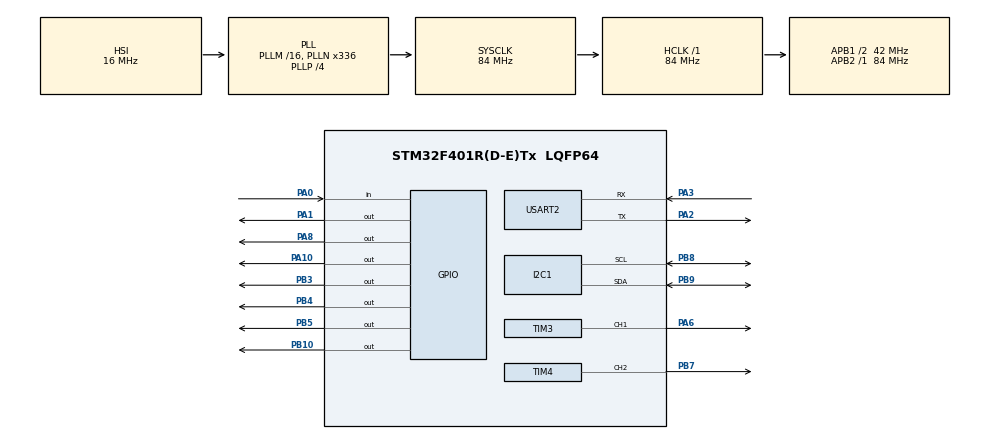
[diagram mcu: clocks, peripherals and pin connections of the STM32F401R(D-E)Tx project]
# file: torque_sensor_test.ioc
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FREERTOS.Tasks01=defaultTask,24,128,StartDefaultTask,Default,NULL,Dynamic,NULL,NULL
Mcu.Family=STM32F4
Mcu.Name=STM32F401R(D-E)Tx
Mcu.Package=LQFP64
NVIC.PriorityGroup=NVIC_PRIORITYGROUP_4
PA0-WKUP.Signal=GPIO_Input
PA1.Signal=GPIO_Output
PA10.Signal=GPIO_Output
PA2.Mode=Asynchronous
PA2.Signal=USART2_TX
PA3.Mode=Asynchronous
PA3.Signal=USART2_RX
PA6.Signal=S_TIM3_CH1
PA8.Signal=GPIO_Output
PB10.Signal=GPIO_Output
PB3.Signal=GPIO_Output
PB4.Signal=GPIO_Output
PB5.Signal=GPIO_Output
PB7.Signal=S_TIM4_CH2
PB8.Mode=I2C
PB8.Signal=I2C1_SCL
PB9.Mode=I2C
PB9.Signal=I2C1_SDA
PH0\ -\ OSC_IN.Signal=RCC_OSC_IN
PH1\ -\ OSC_OUT.Signal=RCC_OSC_OUT
ProjectManager.HeapSize=0x200
ProjectManager.StackSize=0x400
ProjectManager.TargetToolchain=STM32CubeIDE
RCC.48MHZClocksFreq_Value=84000000
RCC.AHBFreq_Value=84000000
RCC.APB1CLKDivider=RCC_HCLK_DIV2
RCC.APB1Freq_Value=42000000
RCC.APB1TimFreq_Value=84000000
RCC.APB2Freq_Value=84000000
RCC.APB2TimFreq_Value=84000000
RCC.CortexFreq_Value=84000000
RCC.HCLKFreq_Value=84000000
RCC.HSE_VALUE=25000000
RCC.HSI_VALUE=16000000
RCC.LSE_VALUE=32768
RCC.PLLN=336
RCC.PLLP=RCC_PLLP_DIV4
RCC.SYSCLKFreq_VALUE=84000000
RCC.SYSCLKSource=RCC_SYSCLKSOURCE_PLLCLK
RCC.VCOOutputFreq_Value=336000000
SH.S_TIM3_CH1.0=TIM3_CH1,PWM Generation1 CH1
SH.S_TIM4_CH2.0=TIM4_CH2,PWM Generation2 CH2
TIM3.Channel-PWM\ Generation1\ CH1=TIM_CHANNEL_1
TIM3.Period=255
TIM3.Prescaler=83
TIM4.Channel-PWM\ Generation2\ CH2=TIM_CHANNEL_2
TIM4.Prescaler=83
USART2.VirtualMode=VM_ASYNC
VP_FREERTOS_VS_CMSIS_V2.Mode=CMSIS_V2
VP_TIM3_VS_ClockSourceINT.Mode=Internal
VP_TIM4_VS_ClockSourceINT.Mode=Internal
board=custom

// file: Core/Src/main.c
/* USER CODE BEGIN Header */
/**
  ******************************************************************************
  * @file           : main.c
  * @brief          : Torque + Current Measurement (HX711 + INA219 + Servo)
  ******************************************************************************
  */

#include <stdio.h>
#include <string.h>
#include <math.h>
/* USER CODE END Header */
#include "main.h"
#include "cmsis_os.h"

I2C_HandleTypeDef hi2c1;

TIM_HandleTypeDef htim3;
TIM_HandleTypeDef htim4;

UART_HandleTypeDef huart2;

/* USER CODE BEGIN PV */
osThreadId_t sensorTaskHandle;
const osThreadAttr_t sensorTask_attributes = {
    .name       = "sensorTask",
    .stack_size = 512 * 4,                          // 2 KB — needs snprintf + floats
    .priority   = (osPriority_t) osPriorityNormal,
};
/* Servo task — sweeps servo continuously */
osThreadId_t servoTaskHandle;
const osThreadAttr_t servoTask_attributes = {
    .name       = "servoTask",                      // MUST differ from sensorTask name
    .stack_size = 128 * 4,                          // 512 B — only GPIO writes, very small
    .priority   = (osPriority_t) osPriorityBelowNormal,
};
osThreadId_t relayTaskHandle;
const osThreadAttr_t relayTask_attributes = {
    .name       = "relayTask",                      // MUST differ from sensorTask name
    .stack_size = 128 * 4,                          // 512 B — only GPIO writes, very small
    .priority   = (osPriority_t) osPriorityBelowNormal,
};
osThreadId_t pwmTaskHandle;
const osThreadAttr_t pwmTask_attributes = {
    .name       = "pwmTask",                      // MUST differ from sensorTask name
    .stack_size = 128 * 4,                          // 512 B — only GPIO writes, very small
    .priority   = (osPriority_t) osPriorityLow,
};

osMutexId_t         i2cMutexHandle;
const osMutexAttr_t i2cMutex_attributes  = { .name = "i2cMutex"  };

osMutexId_t         uartMutexHandle;
const osMutexAttr_t uartMutex_attributes = { .name = "uartMutex" };

// ── HX711 GPIO pins ───────────────────────────────────────────────────────────
#define HX711_DOUT_PORT     GPIOA
#define HX711_DOUT_PIN      GPIO_PIN_0
#define HX711_SCK_PORT      GPIOA
#define HX711_SCK_PIN       GPIO_PIN_1

// ── Torque sensor specifications ──────────────────────────────────────────────
#define SENSITIVITY_MV_PER_V    2.0f
#define EXCITATION_V            5.0f
#define FULL_SCALE_NM           10.0f
#define HX711_GAIN              350.0f
#define HX711_VREF_MV           (EXCITATION_V * 1000.0f)
#define HX711_COUNTS            8388608.0f
#define TORQUE_DEADBAND_NM      0.05f

// ── Servo pulse calibration ───────────────────────────────────────────────────
#define SERVO_PULSE_MIN_US      1000
#define SERVO_PULSE_MAX_US      2000
#define SERVO_PULSE_MID_US      1500

// ── INA219 register / config ──────────────────────────────────────────────────
#define INA219_ADDR                 (0x40 << 1)
#define INA219_REG_CONFIG           0x00
#define INA219_REG_SHUNT_VOLTAGE    0x01
#define INA219_REG_BUS_VOLTAGE      0x02
#define INA219_REG_POWER            0x03
#define INA219_REG_CURRENT          0x04
#define INA219_REG_CALIBRATION      0x05
#define INA219_CONFIG_VALUE         0x399F   // 32 V, 320 mV shunt, 12-bit, continuous
#define INA219_RSHUNT_OHMS          0.0319f
#define INA219_MAX_EXPECTED_A       3.2f
#define INA219_CURRENT_DEADBAND_A   0.02f

// ── Globals shared between main() initialisation and the RTOS task ────────────
static int32_t  hx_zero          = 0;
static float    COUNTS_PER_NM    = 0.0f;

static uint16_t ina219_cal_value     = 0;
static float    ina219_current_lsb_A = 0.0f;
static float    ina219_power_lsb_W   = 0.0f;
static float    ina219_zero_offset_A = 0.0f;

uint16_t pinB[4]={GPIO_PIN_3,GPIO_PIN_5,GPIO_PIN_4,GPIO_PIN_10};
uint16_t pinA[2]={GPIO_PIN_10,GPIO_PIN_8};
typedef struct
{
    float torque;
    float current_A;
    float bus_V;
    int32_t hx_net;
    float counts_per_nm;
    uint8_t ina_ok;
} UartPacket_t;

osThreadId_t uartTaskHandle;

const osThreadAttr_t uartTask_attributes = {
    .name       = "uartTask",
    .stack_size = 512 * 4,
    .priority   = (osPriority_t) osPriorityAboveNormal,
};

osMessageQueueId_t uartQueueHandle;

const osMessageQueueAttr_t uartQueue_attributes = {
    .name = "uartQueue"
};

/* USER CODE END PV */

void SystemClock_Config(void);
static void MX_GPIO_Init(void);
static void MX_USART2_UART_Init(void);
static void MX_TIM4_Init(void);
static void MX_I2C1_Init(void);
static void MX_TIM3_Init(void);

/* USER CODE BEGIN PFP */
void SensorTask(void *argument);
void ServoTask(void *argument);
void RelayTask(void *argument);
void PWMTask(void *argument);
void UartTask(void *argument);
void Set_PWM(uint8_t pwm_value);

/* USER CODE END PFP */

/* USER CODE BEGIN 0 */

// ═════════════════════════════════════════════════════════════════════════════
//  SERVO
// ═════════════════════════════════════════════════════════════════════════════
void Servo_SetPulse(uint16_t pulse_us)
{
    if (pulse_us < SERVO_PULSE_MIN_US) pulse_us = SERVO_PULSE_MIN_US;
    if (pulse_us > SERVO_PULSE_MAX_US) pulse_us = SERVO_PULSE_MAX_US;
    __HAL_TIM_SET_COMPARE(&htim4, TIM_CHANNEL_2, pulse_us);
}

void Servo_SetAngle(uint16_t angle)
{
    if (angle > 180) angle = 180;
    uint16_t pulse = SERVO_PULSE_MIN_US
                   + ((uint32_t)angle
                   * (SERVO_PULSE_MAX_US - SERVO_PULSE_MIN_US)) / 180;
    Servo_SetPulse(pulse);
}

void Set_PWM(uint8_t pwm_value)
{
    __HAL_TIM_SET_COMPARE(&htim3, TIM_CHANNEL_1, pwm_value);
}

// ═════════════════════════════════════════════════════════════════════════════
//  HX711
// ═════════════════════════════════════════════════════════════════════════════
void HX711_WaitReady(void)
{
    uint32_t timeout = 1000;
    while (HAL_GPIO_ReadPin(HX711_DOUT_PORT, HX711_DOUT_PIN) == GPIO_PIN_SET)
    {
        if (--timeout == 0) return;
    }
}

int32_t HX711_Read(void)
{
    HX711_WaitReady();
    uint32_t raw = 0;

    for (int i = 0; i < 24; i++)
    {
        HAL_GPIO_WritePin(HX711_SCK_PORT, HX711_SCK_PIN, GPIO_PIN_SET);
        __NOP(); __NOP(); __NOP(); __NOP(); __NOP(); __NOP();
        raw = (raw << 1) | HAL_GPIO_ReadPin(HX711_DOUT_PORT, HX711_DOUT_PIN);
        HAL_GPIO_WritePin(HX711_SCK_PORT, HX711_SCK_PIN, GPIO_PIN_RESET);
        __NOP(); __NOP(); __NOP(); __NOP(); __NOP(); __NOP();
    }

    // 25th pulse → Channel A, Gain 128 for NEXT reading
    HAL_GPIO_WritePin(HX711_SCK_PORT, HX711_SCK_PIN, GPIO_PIN_SET);
    __NOP(); __NOP(); __NOP(); __NOP(); __NOP(); __NOP();
    HAL_GPIO_WritePin(HX711_SCK_PORT, HX711_SCK_PIN, GPIO_PIN_RESET);
    __NOP(); __NOP(); __NOP(); __NOP(); __NOP(); __NOP();

    // Sign-extend 24-bit two's complement → int32
    if (raw & 0x800000)
        raw |= 0xFF000000;

    return (int32_t)raw;
}

int32_t HX711_ReadAverage(uint8_t samples)
{
    int64_t sum = 0;
    for (uint8_t i = 0; i < samples; i++)
        sum += HX711_Read();
    return (int32_t)(sum / samples);
}

// ═════════════════════════════════════════════════════════════════════════════
//  INA219
// ═════════════════════════════════════════════════════════════════════════════
HAL_StatusTypeDef INA219_WriteReg(uint8_t reg, uint16_t value)
{
    uint8_t data[2];
    data[0] = (value >> 8) & 0xFF;
    data[1] =  value       & 0xFF;
    return HAL_I2C_Mem_Write(&hi2c1, INA219_ADDR, reg,
                             I2C_MEMADD_SIZE_8BIT, data, 2, HAL_MAX_DELAY);
}

HAL_StatusTypeDef INA219_ReadReg(uint8_t reg, uint16_t *value)
{
    uint8_t data[2];
    HAL_StatusTypeDef s = HAL_I2C_Mem_Read(&hi2c1, INA219_ADDR, reg,
                                            I2C_MEMADD_SIZE_8BIT, data, 2, HAL_MAX_DELAY);
    if (s != HAL_OK) return s;
    *value = ((uint16_t)data[0] << 8) | data[1];
    return HAL_OK;
}

HAL_StatusTypeDef INA219_Init(void)
{
    ina219_current_lsb_A = INA219_MAX_EXPECTED_A / 32768.0f;
    ina219_power_lsb_W   = 20.0f * ina219_current_lsb_A;
    ina219_cal_value     = (uint16_t)(0.04096f /
                            (ina219_current_lsb_A * INA219_RSHUNT_OHMS));

    if (INA219_WriteReg(INA219_REG_CALIBRATION, ina219_cal_value) != HAL_OK) return HAL_ERROR;
    if (INA219_WriteReg(INA219_REG_CONFIG,      INA219_CONFIG_VALUE) != HAL_OK) return HAL_ERROR;

    HAL_Delay(10);
    return HAL_OK;
}

float INA219_ReadCurrent_A(void)
{
    uint16_t reg;
    if (INA219_WriteReg(INA219_REG_CALIBRATION, ina219_cal_value) != HAL_OK) return NAN;
    if (INA219_ReadReg(INA219_REG_CURRENT, &reg)                  != HAL_OK) return NAN;
    return (int16_t)reg * ina219_current_lsb_A;
}

float INA219_ReadBusVoltage_V(void)
{
    uint16_t reg;
    if (INA219_ReadReg(INA219_REG_BUS_VOLTAGE, &reg) != HAL_OK) return NAN;
    reg >>= 3;
    return reg * 0.004f;
}

float INA219_TareCurrent(uint8_t samples)
{
    float   sum   = 0.0f;
    uint8_t valid = 0;
    for (uint8_t i = 0; i < samples; i++)
    {
        float val = INA219_ReadCurrent_A();
        if (!isnan(val)) { sum += val; valid++; }
        HAL_Delay(10);
    }
    if (valid == 0) return 0.0f;
    ina219_zero_offset_A = sum / valid;
    return ina219_zero_offset_A;
}

void Setpin(GPIO_TypeDef *GPIOx, uint16_t pin){
	HAL_GPIO_WritePin(GPIOx, pin, GPIO_PIN_RESET);    // PA1 HIGH
}
void Resetpin(GPIO_TypeDef *GPIOx, uint16_t pin){
	HAL_GPIO_WritePin(GPIOx, pin, GPIO_PIN_SET);    // PA1 HIGH
}
/* USER CODE END 0 */

int main(void)
{

  /* MCU Configuration--------------------------------------------------------*/

  /* Reset of all peripherals, Initializes the Flash interface and the Systick. */
  HAL_Init();

  /* Configure the system clock */
  SystemClock_Config();

  /* Initialize all configured peripherals */
  MX_GPIO_Init();
  Resetpin(GPIOA,pinA[1]);
  	HAL_Delay(100);
  	for(int i=3;i>=0;i--){
  		Resetpin(GPIOB,pinB[i]);
  		HAL_Delay(100);
  	}
  	Resetpin(GPIOA,pinA[0]);
  	HAL_Delay(100);
      char msg[160];
  MX_USART2_UART_Init();
  MX_TIM4_Init();
  MX_I2C1_Init();
  MX_TIM3_Init();
  /* USER CODE BEGIN 2 */
  Servo_SetAngle(SERVO_PULSE_MAX_US);
  HAL_Delay(1000);

    // Pre-compute scale factor (stored in global)
    COUNTS_PER_NM = (HX711_COUNTS * HX711_GAIN
                     * SENSITIVITY_MV_PER_V * EXCITATION_V)
                    / (HX711_VREF_MV * 2.0f * FULL_SCALE_NM);

    // Start servo PWM and go to neutral
    HAL_TIM_PWM_Start(&htim4, TIM_CHANNEL_2);
    HAL_TIM_PWM_Start(&htim3, TIM_CHANNEL_1);

//    Servo_SetPulse(SERVO_PULSE_MIN_US);
//    HAL_Delay(1000);
    Servo_SetPulse(SERVO_PULSE_MID_US);
    HAL_Delay(1000);
//    Servo_SetPulse(SERVO_PULSE_MAX_US);
//    HAL_Delay(1000);
    // Tare HX711 (store in global)
    hx_zero = HX711_ReadAverage(32);

    snprintf(msg, sizeof(msg),
             "=== SYSTEM READY ===\r\nZero offset = %ld\r\nCounts/Nm   = %.2f\r\n",
             hx_zero, COUNTS_PER_NM);
    HAL_UART_Transmit(&huart2, (uint8_t*)msg, strlen(msg), HAL_MAX_DELAY);

    // Init INA219 (store calibration in globals)
    if (INA219_Init() == HAL_OK)
    {
        float zero = INA219_TareCurrent(2);
        snprintf(msg, sizeof(msg),
                 "INA219 READY | CAL=%u | Current_LSB=%.8f A/bit | Zero=%.6f A\r\n",
                 ina219_cal_value, ina219_current_lsb_A, zero);
    }
    else
    {
        snprintf(msg, sizeof(msg), "INA219 INIT FAILED\r\n");
    }
    HAL_UART_Transmit(&huart2, (uint8_t*)msg, strlen(msg), HAL_MAX_DELAY);
   	HAL_Delay(5000);

  /* USER CODE END 2 */

  /* Init scheduler */
  osKernelInitialize();

  /* USER CODE BEGIN RTOS_MUTEX */
  /* add mutexes, ... */
  i2cMutexHandle  = osMutexNew(&i2cMutex_attributes);   // 2. Create mutexes
  uartMutexHandle = osMutexNew(&uartMutex_attributes);
  /* Create mutexes BEFORE creating tasks */
  /* USER CODE END RTOS_MUTEX */

  /* USER CODE BEGIN RTOS_QUEUES */
  /* add queues, ... */
  uartQueueHandle = osMessageQueueNew(32, sizeof(UartPacket_t), &uartQueue_attributes);
  /* USER CODE END RTOS_QUEUES */

  /* Create the thread(s) */
  /* creation of defaultTask */
  /* USER CODE BEGIN RTOS_THREADS */
  /* add threads, ... */
  uartTaskHandle = osThreadNew(UartTask, NULL, &uartTask_attributes);
  sensorTaskHandle = osThreadNew(SensorTask, NULL, &sensorTask_attributes);
  servoTaskHandle  = osThreadNew(ServoTask,  NULL, &servoTask_attributes);
//  relayTaskHandle  = osThreadNew(RelayTask,  NULL, &relayTask_attributes);
  pwmTaskHandle  = osThreadNew(PWMTask,  NULL, &pwmTask_attributes);

  /* USER CODE END RTOS_THREADS */

  /* Start scheduler */
  osKernelStart();

  /* We should never get here as control is now taken by the scheduler */

  /* Infinite loop */
  while (1)
  {

  }
}

void SystemClock_Config(void)
{
  RCC_OscInitTypeDef RCC_OscInitStruct = {0};
  RCC_ClkInitTypeDef RCC_ClkInitStruct = {0};

  /** Configure the main internal regulator output voltage
  */
  __HAL_RCC_PWR_CLK_ENABLE();
  __HAL_PWR_VOLTAGESCALING_CONFIG(PWR_REGULATOR_VOLTAGE_SCALE2);

  /** Initializes the RCC Oscillators according to the specified parameters
  * in the RCC_OscInitTypeDef structure.
  */
  RCC_OscInitStruct.OscillatorType = RCC_OSCILLATORTYPE_HSI;
  RCC_OscInitStruct.HSIState = RCC_HSI_ON;
  RCC_OscInitStruct.HSICalibrationValue = RCC_HSICALIBRATION_DEFAULT;
  RCC_OscInitStruct.PLL.PLLState = RCC_PLL_ON;
  RCC_OscInitStruct.PLL.PLLSource = RCC_PLLSOURCE_HSI;
  RCC_OscInitStruct.PLL.PLLM = 16;
  RCC_OscInitStruct.PLL.PLLN = 336;
  RCC_OscInitStruct.PLL.PLLP = RCC_PLLP_DIV4;
  RCC_OscInitStruct.PLL.PLLQ = 4;
  if (HAL_RCC_OscConfig(&RCC_OscInitStruct) != HAL_OK)
  {
    Error_Handler();
  }

  /** Initializes the CPU, AHB and APB buses clocks
  */
  RCC_ClkInitStruct.ClockType = RCC_CLOCKTYPE_HCLK|RCC_CLOCKTYPE_SYSCLK
                              |RCC_CLOCKTYPE_PCLK1|RCC_CLOCKTYPE_PCLK2;
  RCC_ClkInitStruct.SYSCLKSource = RCC_SYSCLKSOURCE_PLLCLK;
  RCC_ClkInitStruct.AHBCLKDivider = RCC_SYSCLK_DIV1;
  RCC_ClkInitStruct.APB1CLKDivider = RCC_HCLK_DIV2;
  RCC_ClkInitStruct.APB2CLKDivider = RCC_HCLK_DIV1;

  if (HAL_RCC_ClockConfig(&RCC_ClkInitStruct, FLASH_LATENCY_2) != HAL_OK)
  {
    Error_Handler();
  }
}

static void MX_I2C1_Init(void)
{

  hi2c1.Instance = I2C1;
  hi2c1.Init.ClockSpeed = 100000;
  hi2c1.Init.DutyCycle = I2C_DUTYCYCLE_2;
  hi2c1.Init.OwnAddress1 = 0;
  hi2c1.Init.AddressingMode = I2C_ADDRESSINGMODE_7BIT;
  hi2c1.Init.DualAddressMode = I2C_DUALADDRESS_DISABLE;
  hi2c1.Init.OwnAddress2 = 0;
  hi2c1.Init.GeneralCallMode = I2C_GENERALCALL_DISABLE;
  hi2c1.Init.NoStretchMode = I2C_NOSTRETCH_DISABLE;
  if (HAL_I2C_Init(&hi2c1) != HAL_OK)
  {
    Error_Handler();
  }

}

static void MX_TIM3_Init(void)
{

  TIM_ClockConfigTypeDef sClockSourceConfig = {0};
  TIM_MasterConfigTypeDef sMasterConfig = {0};
  TIM_OC_InitTypeDef sConfigOC = {0};

  htim3.Instance = TIM3;
  htim3.Init.Prescaler = 83;
  htim3.Init.CounterMode = TIM_COUNTERMODE_UP;
  htim3.Init.Period = 255;
  htim3.Init.ClockDivision = TIM_CLOCKDIVISION_DIV1;
  htim3.Init.AutoReloadPreload = TIM_AUTORELOAD_PRELOAD_DISABLE;
  if (HAL_TIM_Base_Init(&htim3) != HAL_OK)
  {
    Error_Handler();
  }
  sClockSourceConfig.ClockSource = TIM_CLOCKSOURCE_INTERNAL;
  if (HAL_TIM_ConfigClockSource(&htim3, &sClockSourceConfig) != HAL_OK)
  {
    Error_Handler();
  }
  if (HAL_TIM_PWM_Init(&htim3) != HAL_OK)
  {
    Error_Handler();
  }
  sMasterConfig.MasterOutputTrigger = TIM_TRGO_RESET;
  sMasterConfig.MasterSlaveMode = TIM_MASTERSLAVEMODE_DISABLE;
  if (HAL_TIMEx_MasterConfigSynchronization(&htim3, &sMasterConfig) != HAL_OK)
  {
    Error_Handler();
  }
  sConfigOC.OCMode = TIM_OCMODE_PWM1;
  sConfigOC.Pulse = 0;
  sConfigOC.OCPolarity = TIM_OCPOLARITY_HIGH;
  sConfigOC.OCFastMode = TIM_OCFAST_DISABLE;
  if (HAL_TIM_PWM_ConfigChannel(&htim3, &sConfigOC, TIM_CHANNEL_1) != HAL_OK)
  {
    Error_Handler();
  }
  HAL_TIM_MspPostInit(&htim3);

}

static void MX_TIM4_Init(void)
{

  TIM_ClockConfigTypeDef sClockSourceConfig = {0};
  TIM_MasterConfigTypeDef sMasterConfig = {0};
  TIM_OC_InitTypeDef sConfigOC = {0};

  htim4.Instance = TIM4;
  htim4.Init.Prescaler = 83;
  htim4.Init.CounterMode = TIM_COUNTERMODE_UP;
  htim4.Init.Period = 19999;
  htim4.Init.ClockDivision = TIM_CLOCKDIVISION_DIV1;
  htim4.Init.AutoReloadPreload = TIM_AUTORELOAD_PRELOAD_DISABLE;
  if (HAL_TIM_Base_Init(&htim4) != HAL_OK)
  {
    Error_Handler();
  }
  sClockSourceConfig.ClockSource = TIM_CLOCKSOURCE_INTERNAL;
  if (HAL_TIM_ConfigClockSource(&htim4, &sClockSourceConfig) != HAL_OK)
  {
    Error_Handler();
  }
  if (HAL_TIM_PWM_Init(&htim4) != HAL_OK)
  {
    Error_Handler();
  }
  sMasterConfig.MasterOutputTrigger = TIM_TRGO_RESET;
  sMasterConfig.MasterSlaveMode = TIM_MASTERSLAVEMODE_DISABLE;
  if (HAL_TIMEx_MasterConfigSynchronization(&htim4, &sMasterConfig) != HAL_OK)
  {
    Error_Handler();
  }
  sConfigOC.OCMode = TIM_OCMODE_PWM1;
  sConfigOC.Pulse = 0;
  sConfigOC.OCPolarity = TIM_OCPOLARITY_HIGH;
  sConfigOC.OCFastMode = TIM_OCFAST_DISABLE;
  if (HAL_TIM_PWM_ConfigChannel(&htim4, &sConfigOC, TIM_CHANNEL_2) != HAL_OK)
  {
    Error_Handler();
  }
  HAL_TIM_MspPostInit(&htim4);

}

static void MX_USART2_UART_Init(void)
{

  huart2.Instance = USART2;
  huart2.Init.BaudRate = 115200;
  huart2.Init.WordLength = UART_WORDLENGTH_8B;
  huart2.Init.StopBits = UART_STOPBITS_1;
  huart2.Init.Parity = UART_PARITY_NONE;
  huart2.Init.Mode = UART_MODE_TX_RX;
  huart2.Init.HwFlowCtl = UART_HWCONTROL_NONE;
  huart2.Init.OverSampling = UART_OVERSAMPLING_16;
  if (HAL_UART_Init(&huart2) != HAL_OK)
  {
    Error_Handler();
  }

}

static void MX_GPIO_Init(void)
{
  GPIO_InitTypeDef GPIO_InitStruct = {0};

  /* GPIO Ports Clock Enable */
  __HAL_RCC_GPIOH_CLK_ENABLE();
  __HAL_RCC_GPIOA_CLK_ENABLE();
  __HAL_RCC_GPIOB_CLK_ENABLE();

  /*Configure GPIO pin Output Level */
  HAL_GPIO_WritePin(GPIOA, GPIO_PIN_1|GPIO_PIN_8|GPIO_PIN_10, GPIO_PIN_RESET);

  /*Configure GPIO pin Output Level */
  HAL_GPIO_WritePin(GPIOB, GPIO_PIN_10|GPIO_PIN_3|GPIO_PIN_4|GPIO_PIN_5, GPIO_PIN_RESET);

  /*Configure GPIO pin : PA0 */
  GPIO_InitStruct.Pin = GPIO_PIN_0;
  GPIO_InitStruct.Mode = GPIO_MODE_INPUT;
  GPIO_InitStruct.Pull = GPIO_NOPULL;
  HAL_GPIO_Init(GPIOA, &GPIO_InitStruct);

  /*Configure GPIO pins : PA1 PA8 PA10 */
  GPIO_InitStruct.Pin = GPIO_PIN_1|GPIO_PIN_8|GPIO_PIN_10;
  GPIO_InitStruct.Mode = GPIO_MODE_OUTPUT_PP;
  GPIO_InitStruct.Pull = GPIO_NOPULL;
  GPIO_InitStruct.Speed = GPIO_SPEED_FREQ_LOW;
  HAL_GPIO_Init(GPIOA, &GPIO_InitStruct);

  /*Configure GPIO pins : PB10 PB3 PB4 PB5 */
  GPIO_InitStruct.Pin = GPIO_PIN_10|GPIO_PIN_3|GPIO_PIN_4|GPIO_PIN_5;
  GPIO_InitStruct.Mode = GPIO_MODE_OUTPUT_PP;
  GPIO_InitStruct.Pull = GPIO_NOPULL;
  GPIO_InitStruct.Speed = GPIO_SPEED_FREQ_LOW;
  HAL_GPIO_Init(GPIOB, &GPIO_InitStruct);

  /* Configure TIM3_CH1 on PA6 for PWM */
  GPIO_InitStruct.Pin = GPIO_PIN_6;
  GPIO_InitStruct.Mode = GPIO_MODE_AF_PP;
  GPIO_InitStruct.Pull = GPIO_NOPULL;
  GPIO_InitStruct.Speed = GPIO_SPEED_FREQ_LOW;
  GPIO_InitStruct.Alternate = GPIO_AF2_TIM3;
  HAL_GPIO_Init(GPIOA, &GPIO_InitStruct);

  /* Configure TIM4_CH2 on PB7 for PWM */
  GPIO_InitStruct.Pin = GPIO_PIN_7;
  GPIO_InitStruct.Mode = GPIO_MODE_AF_PP;
  GPIO_InitStruct.Pull = GPIO_NOPULL;
  GPIO_InitStruct.Speed = GPIO_SPEED_FREQ_LOW;
  GPIO_InitStruct.Alternate = GPIO_AF2_TIM4;
  HAL_GPIO_Init(GPIOB, &GPIO_InitStruct);

}

  /* USER CODE BEGIN 5 */

void PWMTask(void * argument){
	for(;;){
//    for (uint8_t pwm = 0; pwm <= 250; pwm += 5)
//		{
//			Set_PWM(pwm);
//			osDelay(100);
//		}
		Set_PWM(31);   // ensure we hit 255 exactly
		osDelay(1000);

//		for (int16_t pwm = 255; pwm >= 0; pwm -= 5)
//		{
//			Set_PWM((uint8_t)pwm);
//			osDelay(100);
//		}
//		Set_PWM(0);     // ensure we hit 0 exactly
//		osDelay(1000);
	}
}
void RelayTask(void *argument){

	for (;;){
	    Setpin(GPIOA,pinA[0]);
		osDelay(100);
		for(int i=0;i<4;i++){
			Setpin(GPIOB,pinB[i]);
			osDelay(100);
		}
		Setpin(GPIOA,pinA[1]);
		osDelay(100);

		Resetpin(GPIOA,pinA[0]);
		osDelay(100);
		for(int i=0;i<4;i++){
			Resetpin(GPIOB,pinB[i]);
			osDelay(100);
		}
		Resetpin(GPIOA,pinA[1]);
		osDelay(100);

	}

}

void ServoTask(void *argument)
  {
    // PWM already started in main(), don't start again
    Servo_SetPulse(SERVO_PULSE_MID_US);   // center    (1500 µs)
    osDelay(2000);
    Setpin(GPIOB,pinB[0]); //RST
    osDelay(1000);
    Resetpin(GPIOB,pinB[0]); // RST
    osDelay(1000);
    Setpin(GPIOB,pinB[3]); // Torque
    osDelay(1000);
    Setpin(GPIOB,pinB[1]); // RUN
    osDelay(1000);

      for (;;){
//            Servo_SetPulse(SERVO_PULSE_MIN_US);   // full CCW  (1000 µs)
//			osDelay(500);
//			Servo_SetPulse(SERVO_PULSE_MID_US);   // center    (1500 µs)
//			osDelay(500);
//
//			Servo_SetPulse(SERVO_PULSE_MAX_US);   // full CW   (2000 µs)
//			osDelay(500);
//
//			Servo_SetPulse(SERVO_PULSE_MID_US);   // back to center before repeating
//			osDelay(500);
    	     Setpin(GPIOB,pinB[2]); //FWD
    	     osDelay(1000);
    	     Resetpin(GPIOB,pinB[2]); //FWD
    	     osDelay(1000);
    	     Setpin(GPIOA,pinA[0]); //REV
    	     osDelay(2000);
    	     Resetpin(GPIOA,pinA[0]); //REV
    	     osDelay(2000);
	  }
}

void SensorTask(void *argument)
{
//   char  msg[160];
   float torque    = 0.0f;
   float current_A = 0.0f;
   float bus_V     = 0.0f;

   for (;;)
   {
       // ── HX711 torque reading ─────────────────────────────────────────────
       int32_t hx_raw = HX711_Read();
       int32_t hx_net = hx_raw - hx_zero;
       torque = (float)hx_net / COUNTS_PER_NM;

       if (fabsf(torque) < TORQUE_DEADBAND_NM)
           torque = 0.0f;

       // ── INA219 current + voltage reading ─────────────────────────────────
       float raw_A = INA219_ReadCurrent_A();
       if (!isnan(raw_A))
       {
           current_A = raw_A - ina219_zero_offset_A;
           if (fabsf(current_A) < INA219_CURRENT_DEADBAND_A)
               current_A = 0.0f;
       }
       else
       {
           current_A = NAN;
       }

       bus_V = INA219_ReadBusVoltage_V();

       // ── Transmit results over UART ────────────────────────────────────────
//       if (!isnan(current_A) && !isnan(bus_V))
//       {
//           snprintf(msg, sizeof(msg),
//                    "T=%7.4f Nm | I=%7.4f A | V=%6.3f V | hx_net=%ld | count_per_NM=%6.3f\r\n",
//                    torque, current_A, bus_V, hx_net, COUNTS_PER_NM);
//       }
//       else
//       {
//           snprintf(msg, sizeof(msg),
//                    "T=%7.4f Nm | INA219 READ ERROR\r\n",
//                    torque);
//       }

//       HAL_UART_Transmit(&huart2, (uint8_t*)msg, strlen(msg), HAL_MAX_DELAY);
       UartPacket_t pkt;

       pkt.torque = torque;
       pkt.current_A = current_A;
       pkt.bus_V = bus_V;
       pkt.hx_net = hx_net;
       pkt.counts_per_nm = COUNTS_PER_NM;
       pkt.ina_ok = (!isnan(current_A) && !isnan(bus_V)) ? 1 : 0;

       osMessageQueuePut(uartQueueHandle, &pkt, 0, 0);

       osDelay(50);   // 10 Hz sample rate — adjust as needed
   }
}
void UartTask(void *argument)
{
    char msg[160];
    UartPacket_t pkt;
    uint8_t txData[160];

    for (;;)
    {
        if (osMessageQueueGet(uartQueueHandle, &pkt, NULL, osWaitForever) == osOK)
        {
            if (pkt.ina_ok)
            {
                snprintf((char*)txData, sizeof(txData),
                         "T=%7.4f Nm | I=%7.4f A | V=%6.3f V | hx_net=%ld | count_per_NM=%6.3f\r\n",
                         pkt.torque,
                         pkt.current_A,
                         pkt.bus_V,
                         pkt.hx_net,
                         pkt.counts_per_nm);
            }
            else
            {
                snprintf((char*)txData, sizeof(txData),
                         "T=%7.4f Nm | INA219 READ ERROR\r\n",
                         pkt.torque);
            }

            if (__HAL_UART_GET_FLAG(&huart2, UART_FLAG_TXE) != RESET) {
                HAL_UART_Transmit(&huart2, txData, strlen((char*)txData), 10);
            }
        }
    }
}
  /* USER CODE END 5 */

void Error_Handler(void)
{
  __disable_irq();
  while (1)
  {
  }
}
